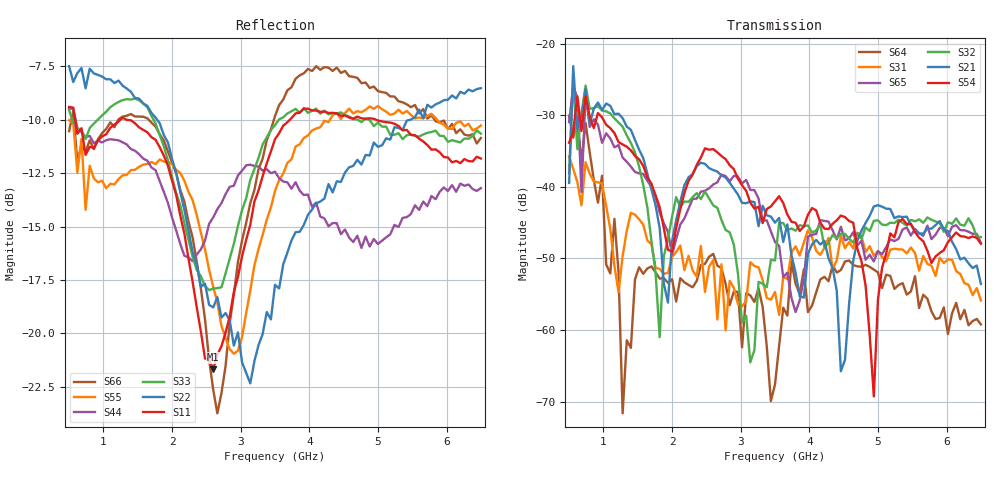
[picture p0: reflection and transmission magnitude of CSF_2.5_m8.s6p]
!Keysight Technologies,M9804A,MY58100912,A.14.10.03
!Date: Thursday, April 27, 2023 10:28:33
!Correction: S11(C  6-Port  )
!S12(C  6-Port  )
!S13(C  6-Port  )
!S14(C  6-Port  )
!S15(C  6-Port  )
!S16(C  6-Port  )
!S21(C  6-Port  )
!S22(C  6-Port  )
!S23(C  6-Port  )
!S24(C  6-Port  )
!S25(C  6-Port  )
!S26(C  6-Port  )
!S31(C  6-Port  )
!S32(C  6-Port  )
!S33(C  6-Port  )
!S34(C  6-Port  )
!S35(C  6-Port  )
!S36(C  6-Port  )
!S41(C  6-Port  )
!S42(C  6-Port  )
!S43(C  6-Port  )
!S44(C  6-Port  )
!S45(C  6-Port  )
!S46(C  6-Port  )
!S51(C  6-Port  )
!S52(C  6-Port  )
!S53(C  6-Port  )
!S54(C  6-Port  )
!S55(C  6-Port  )
!S56(C  6-Port  )
!S61(C  6-Port  )
!S62(C  6-Port  )
!S63(C  6-Port  )
!S64(C  6-Port  )
!S65(C  6-Port  )
!S66(C  6-Port  )
!S6P File: Measurement: :
# Hz S  RI  R 50
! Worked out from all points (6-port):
!   101 points, 500 MHz to 6.5 GHz, reference 50 ohm
!   strongest paths, dB at 500 MHz, 2 GHz, 3.5 GHz, 5 GHz, 6.5 GHz:
!     S54: -33.8, -49.1, -42.0, -55.8, -48.0
!     S21: -39.5, -47.6, -45.0, -42.6, -53.6
!     S32: -38.1, -44.2, -50.3, -44.7, -47.0
!     S65: -31.0, -49.5, -47.7, -49.0, -47.8
!     S31: -35.8, -49.8, -54.7, -49.0, -55.9
!     S64: -30.1, -52.9, -67.6, -52.0, -59.2
!   lowest |S11| = -21.7 dB at 2.6 GHz (marker M1), VSWR 1.18, Z = 42.6 + j1.98 ohm
!   |S11| at or under -10 dB: 587.9 MHz to 1.249 GHz (661.2 MHz wide, 72 % of centre); 1.337 GHz to 3.716 GHz (2.379 GHz wide, 94.2 % of centre); 4.973 GHz to end of sweep
